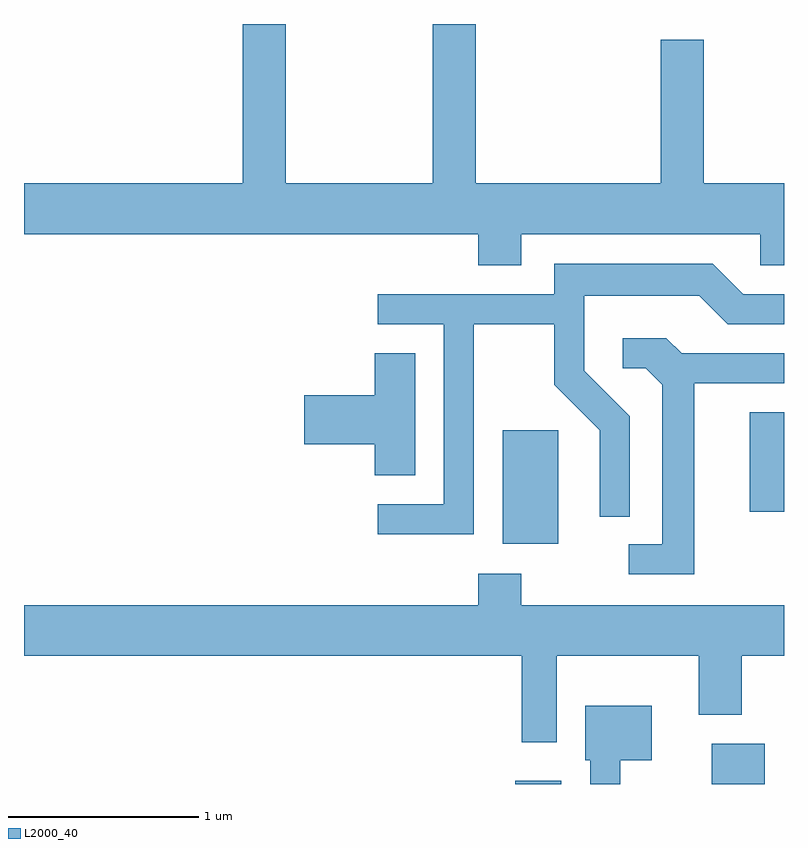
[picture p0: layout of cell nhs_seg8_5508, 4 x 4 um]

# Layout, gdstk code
import gdstk
lib = gdstk.Library(unit=1e-6, precision=1e-09)
def R(c, l, rs):  # rectangles x0, y0, x1, y1
    for r in rs: c.add(gdstk.rectangle(r[:2], r[2:], *l))
def P(c, l, *ps):  # polygons
    for p in ps: c.add(gdstk.Polygon(p, *l))
L2000_40 = (2000, 40)

nhs_seg8_5508 = lib.new_cell('nhs_seg8_5508')
R(nhs_seg8_5508, L2000_40, [(352.196,1902.342,352.439,1902.359), (353.231,1902.342,353.509,1902.554), (352.131,1903.606,352.424,1904.204), (353.431,1903.776,353.611,1904.299)])
P(nhs_seg8_5508, L2000_40, [(352.229,1905.236),(353.486,1905.236),(353.486,1905.071),(353.611,1905.071),(353.611,1905.504),(353.189,1905.504),(353.189,1906.259),(352.961,1906.259),(352.961,1905.504),(351.989,1905.504),(351.989,1906.342),(351.761,1906.342),(351.761,1905.504),(350.989,1905.504),(350.989,1906.342),(350.761,1906.342),(350.761,1905.504),(349.611,1905.504),(349.611,1905.236),(352.001,1905.236),(352.001,1905.071),(352.229,1905.071)],
  [(351.979,1904.761),(352.401,1904.761),(352.401,1904.444),(352.641,1904.204),(352.641,1903.748),(352.799,1903.748),(352.799,1904.277),(352.559,1904.517),(352.559,1904.911),(353.164,1904.911),(353.314,1904.761),(353.611,1904.761),(353.611,1904.919),(353.397,1904.919),(353.237,1905.079),(352.401,1905.079),(352.401,1904.919),(351.473,1904.919),(351.473,1904.761),(351.821,1904.761),(351.821,1903.814),(351.473,1903.814),(351.473,1903.656),(351.979,1903.656)],
  [(353.139,1904.451),(353.611,1904.451),(353.611,1904.609),(353.072,1904.609),(352.992,1904.689),(352.763,1904.689),(352.763,1904.531),(352.884,1904.531),(352.971,1904.444),(352.971,1903.604),(352.793,1903.604),(352.793,1903.446),(353.139,1903.446)],
  [(351.669,1904.609),(351.456,1904.609),(351.456,1904.389),(351.086,1904.389),(351.086,1904.131),(351.456,1904.131),(351.456,1903.966),(351.669,1903.966)],
  [(352.414,1903.016),(353.161,1903.016),(353.161,1902.706),(353.389,1902.706),(353.389,1903.016),(353.611,1903.016),(353.611,1903.284),(352.229,1903.284),(352.229,1903.449),(352.001,1903.449),(352.001,1903.284),(349.611,1903.284),(349.611,1903.016),(352.231,1903.016),(352.231,1902.561),(352.414,1902.561)],
  [(352.749,1902.466),(352.914,1902.466),(352.914,1902.754),(352.566,1902.754),(352.566,1902.466),(352.591,1902.466),(352.591,1902.342),(352.749,1902.342)])

lib.write_gds('nhs_seg8_5508.gds')
